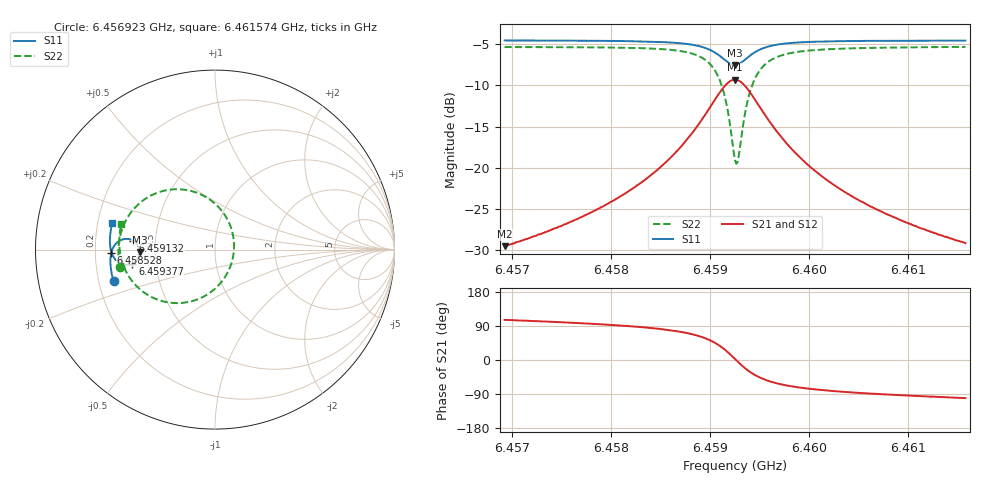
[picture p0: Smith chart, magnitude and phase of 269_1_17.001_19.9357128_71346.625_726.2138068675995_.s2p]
#  HZ  S  RI  R  50.00
! Rohde & Schwarz Vector Network Analyzer
! Rohde-Schwarz,ZNB20-2Port,1311601062101988,3.16
! Created: UTC 3/20/2024, 11:04:06 PM
! freq[Hz]  re:S11  im:S11  re:S21  im:S21  re:S12  im:S12  re:S22  im:S22
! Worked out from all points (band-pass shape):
!   401 points, 6.456923 GHz to 6.461574 GHz, reference 50 ohm
!   highest |S21| = -9.31 dB at 6.459249 GHz (marker M1); lowest = -29.5 dB at 6.456923 GHz (marker M2)
!   |S21| within 3 dB of the highest: 6.459016 GHz to 6.459481 GHz (465.8 kHz wide, 0.00721 % of centre)
!   lowest |S11| = -7.5 dB at 6.459249 GHz (marker M3), VSWR 2.45, Z = 20.4 - j0.623 ohm
!   |S11| at or under -10 dB: nowhere
!   |S22| runs from -19.5 to -5.3 dB; largest |S21 - S12| = 0.013
!   S11 on the Smith chart (normalised r, x): 6.456923 GHz: 0.26, -0.14; 6.458528 GHz: 0.27, -0.01; 6.459132 GHz: 0.37, +0.05; 6.459377 GHz: 0.37, -0.07; 6.461574 GHz: 0.26, +0.12
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6.4569228e9  -0.5651 -0.1771  -0.00922 0.0321  -0.00749 0.0321  -0.5314 -0.0943
6.4577019e9  -0.5799 -0.1092  -0.006 0.05  -0.00354 0.0493  -0.5382 -0.00351
6.4581555e9  -0.5831 -0.0637  0.00032 0.0708  0.00358 0.0694  -0.5299 0.0686
6.4584811e9  -0.5796 -0.0248  0.0133 0.0981  0.0172 0.0954  -0.5064 0.1422
6.4585276e9  -0.5784 -0.0185  0.0167 0.1034  0.0208 0.1006  -0.5002 0.1555
6.4587486e9  -0.5652 0.0152  0.0447 0.1374  0.0489 0.1325  -0.4477 0.2319
6.4588997e9  -0.5428 0.0417  0.0896 0.1678  0.0928 0.1612  -0.3651 0.2968
6.4590393e9  -0.4995 0.0594  0.1759 0.1847  0.1771 0.1774  -0.207 0.3363
6.4591323e9  -0.4553 0.0497  0.2652 0.1541  0.2655 0.148  -0.0414 0.2872
6.4591788e9  -0.4344 0.0309  0.3088 0.1117  0.31 0.1065  0.041 0.2119
6.4592486e9  -0.4197 -0.0126  0.3419 0.0159  0.3456 0.009  0.1061 0.0339
6.4592602e9  -0.4201 -0.0205  0.3419 -0.00168  0.3457 -0.00917  0.1058 0.000609
6.4592835e9  -0.4234 -0.0359  0.3365 -0.0359  0.3404 -0.0451  0.0952 -0.0645
6.45933e9  -0.4387 -0.0617  0.3086 -0.0954  0.3108 -0.1071  0.0387 -0.1767
6.4593765e9  -0.4604 -0.0777  0.2674 -0.1364  0.2664 -0.1493  -0.045 -0.2514
6.4594696e9  -0.5034 -0.0846  0.1836 -0.1676  0.1775 -0.1791  -0.2118 -0.2982
6.4596207e9  -0.5468 -0.0643  0.0963 -0.1545  0.088 -0.1607  -0.3784 -0.2502
6.4597836e9  -0.5682 -0.0368  0.0519 -0.1273  0.0442 -0.13  -0.4588 -0.1791
6.4600278e9  -0.5811 -0.00117  0.0226 -0.0963  0.0169 -0.0969  -0.507 -0.0974
6.4603766e9  -0.5857 0.0398  0.00669 -0.0698  0.00256 -0.0693  -0.5289 -0.0183
6.4608069e9  -0.5838 0.083  -0.00122 -0.0515  -0.00412 -0.0507  -0.5336 0.0501
6.4615744e9  -0.5716 0.1508  -0.00638 -0.0342  -0.00804 -0.0333  -0.5225 0.1405
